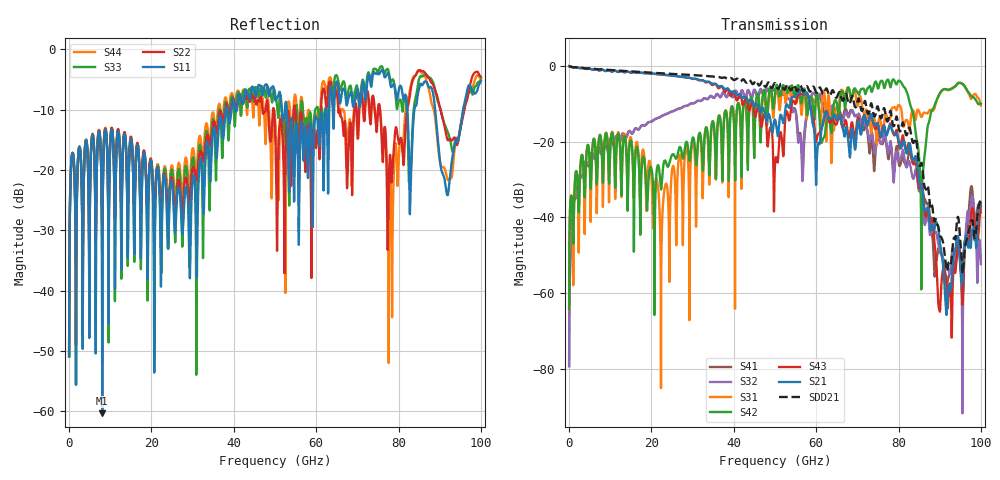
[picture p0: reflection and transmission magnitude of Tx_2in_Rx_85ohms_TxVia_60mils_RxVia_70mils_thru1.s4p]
! Info: Touchstone file created by Circ.  Input file=Tx_2in_Rx_85ohms_TxVia_60mils_RxVia_70mils.circ
# Hz S RI R 50
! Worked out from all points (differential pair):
!   10000 points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, 10 MHz to 100 GHz, reference 50 ohm
!   strongest paths, dB at 10 MHz, 25.01 GHz, 50.01 GHz, 75.01 GHz, 100 GHz:
!     S21: 0.0, -2.5, -14.2, -15.4, -36.9
!     S43: 0.0, -2.6, -25.9, -15.4, -36.2
!     S42: -64.2, -23.5, -7.3, -6.0, -10.0
!     S31: -64.2, -27.5, -8.3, -16.0, -10.4
!     S32: -79.3, -12.0, -6.4, -17.2, -52.4
!     S41: -79.3, -12.0, -6.6, -19.4, -38.6
!   taken as a pair (ports 1,3 in; 2,4 out), SDD21 dB: 0.0, -2.1, -4.5, -10.8, -34.7
!   lowest |S11| = -60.3 dB at 8.04 GHz (marker M1), VSWR 1.00, Z = 50.1 - j0.0372 ohm
!   |S11| at or under -10 dB: start of sweep to 38.1 GHz; 52.86 GHz to 62.29 GHz (9.435 GHz wide, 16.4 % of centre); 88.9 GHz to 95.7 GHz (6.801 GHz wide, 7.37 % of centre) (the widest 3 of 9)
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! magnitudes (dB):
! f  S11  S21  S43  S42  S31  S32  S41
! 10 MHz  -50.9  0.0  0.0  -64.2  -64.2  -79.3  -79.3
! 8.04 GHz  -60.3  -0.9  -0.9  -25.1  -26.1  -22.1  -22.1
! 59.43 GHz  -15.3  -16.4  -14.4  -13.7  -9.2  -7.1  -7.2
! 82.5 GHz  -16.8  -21.1  -20.4  -8.7  -16.4  -25.1  -23.0
! 85.61 GHz  -5.9  -31.6  -31.2  -39.2  -13.5  -32.5  -31.2
! 89.91 GHz  -17.5  -45.4  -64.4  -7.5  -7.5  -48.6  -48.7
! 100 GHz  -5.2  -36.9  -36.2  -10.0  -10.4  -52.4  -38.6
